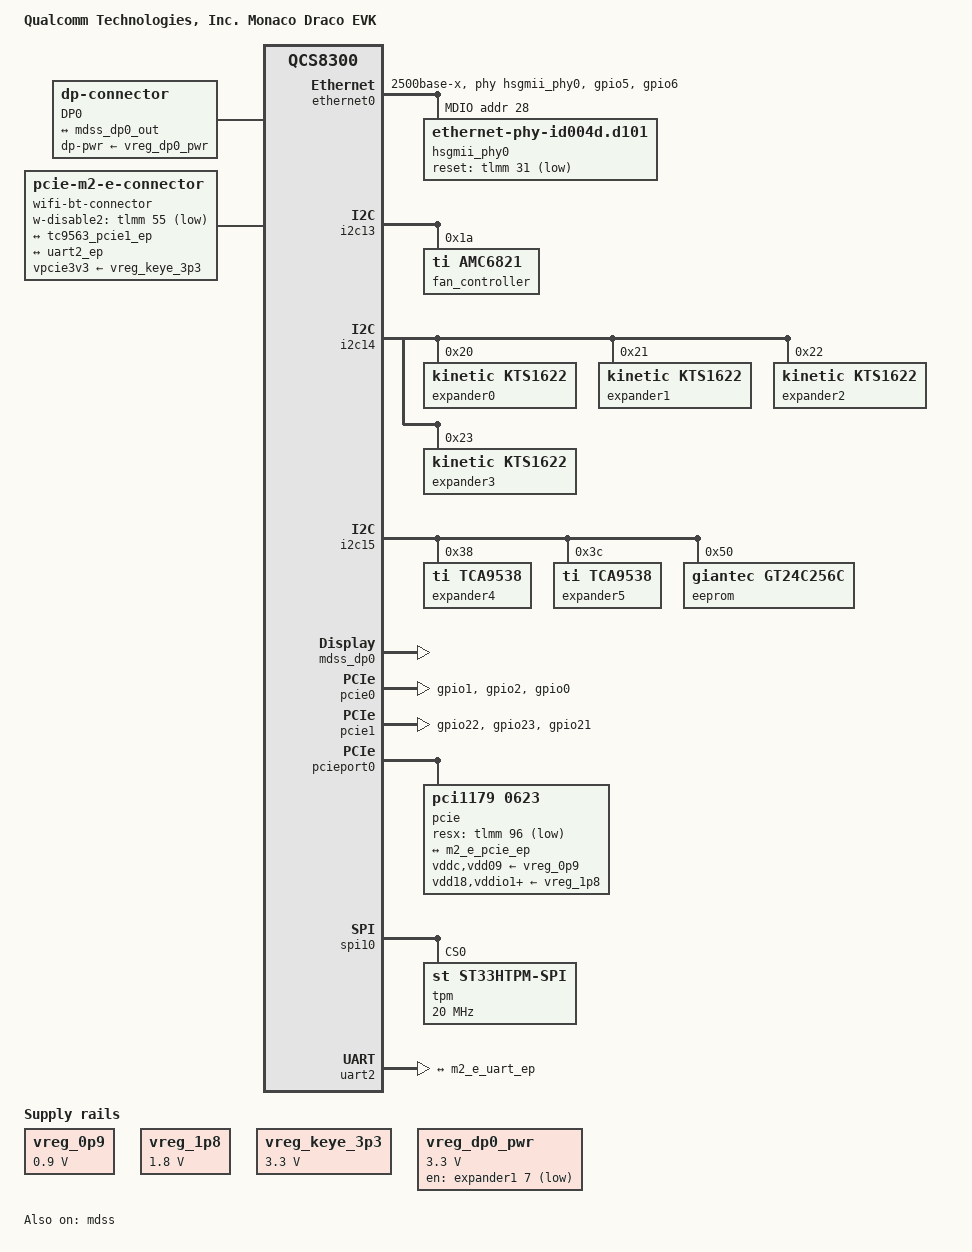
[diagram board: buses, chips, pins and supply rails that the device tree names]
// SPDX-License-Identifier: BSD-3-Clause
/*
 * Copyright (c) Qualcomm Technologies, Inc. and/or its subsidiaries.
 */

/dts-v1/;

#include <dt-bindings/pwm/pwm.h>

#include "monaco-draco-ac-som.dtsi"

/ {
	model = "Qualcomm Technologies, Inc. Monaco Draco EVK";
	compatible = "qcom,monaco-draco-evk", "qcom,monaco-draco-ac-som",
		     "qcom,qcs8300";
	chassis-type = "embedded";

	aliases {
		ethernet0 = &ethernet0;
		serial1 = &uart2;
	};

	vreg_0p9: regulator-0v9 {
		compatible = "regulator-fixed";
		regulator-name = "VREG_0P9";
		regulator-min-microvolt = <900000>;
		regulator-max-microvolt = <900000>;
		regulator-always-on;
		regulator-boot-on;
	};

	vreg_1p8: regulator-1v8 {
		compatible = "regulator-fixed";
		regulator-name = "VREG_1P8";
		regulator-min-microvolt = <1800000>;
		regulator-max-microvolt = <1800000>;
		regulator-always-on;
		regulator-boot-on;
	};

	vreg_keye_3p3: regulator-keye-3p3 {
		compatible = "regulator-fixed";
		regulator-name = "vreg_keye_3p3";
		regulator-min-microvolt = <3300000>;
		regulator-max-microvolt = <3300000>;
		regulator-always-on;
	};

	vreg_dp0_pwr: regulator-dp0-pwr {
		compatible = "regulator-fixed";
		regulator-name = "VREG_DP0_PWR_3P3";
		regulator-min-microvolt = <3300000>;
		regulator-max-microvolt = <3300000>;
		gpio = <&expander1 7 GPIO_ACTIVE_HIGH>;
	};

	dp0-connector {
		compatible = "dp-connector";
		label = "DP0";
		type = "full-size";
		dp-pwr-supply = <&vreg_dp0_pwr>;

		port {
			dp0_connector_in: endpoint {
				remote-endpoint = <&mdss_dp0_out>;
			};
		};
	};

	wifi-bt-connector {
		compatible = "pcie-m2-e-connector";
		vpcie3v3-supply = <&vreg_keye_3p3>;

		w-disable2-gpios = <&tlmm 55 GPIO_ACTIVE_LOW>;

		pinctrl-0 = <&bt_en>;
		pinctrl-names = "default";

		ports {
			#address-cells = <1>;
			#size-cells = <0>;

			port@0 {
				reg = <0>;
				#address-cells = <1>;
				#size-cells = <0>;

				m2_e_pcie_ep: endpoint@0 {
					reg = <0>;
					remote-endpoint = <&tc9563_pcie1_ep>;
				};
			};

			port@3 {
				reg = <3>;
				#address-cells = <1>;
				#size-cells = <0>;

				m2_e_uart_ep: endpoint@0 {
					reg = <0>;
					remote-endpoint = <&uart2_ep>;
				};
			};
		};
	};
};

&ethernet0 {
	phy-handle = <&hsgmii_phy0>;
	phy-mode = "2500base-x";

	pinctrl-0 = <&ethernet0_default>;
	pinctrl-names = "default";

	snps,mtl-rx-config = <&mtl_rx_setup>;
	snps,mtl-tx-config = <&mtl_tx_setup>;

	nvmem-cells = <&mac_addr0>;
	nvmem-cell-names = "mac-address";

	status = "okay";

	mdio {
		compatible = "snps,dwmac-mdio";
		#address-cells = <1>;
		#size-cells = <0>;

		hsgmii_phy0: ethernet-phy@1c {
			compatible = "ethernet-phy-id004d.d101";
			reg = <0x1c>;
			reset-gpios = <&tlmm 31 GPIO_ACTIVE_LOW>;
			reset-assert-us = <11000>;
			reset-deassert-us = <70000>;
		};
	};

	mtl_rx_setup: rx-queues-config {
		snps,rx-queues-to-use = <4>;
		snps,rx-sched-sp;

		queue0 {
			snps,dcb-algorithm;
			snps,map-to-dma-channel = <0x0>;
			snps,route-up;
			snps,priority = <0x1>;
		};

		queue1 {
			snps,dcb-algorithm;
			snps,map-to-dma-channel = <0x1>;
			snps,route-ptp;
		};

		queue2 {
			snps,avb-algorithm;
			snps,map-to-dma-channel = <0x2>;
			snps,route-avcp;
		};

		queue3 {
			snps,avb-algorithm;
			snps,map-to-dma-channel = <0x3>;
			snps,priority = <0xc>;
		};
	};

	mtl_tx_setup: tx-queues-config {
		snps,tx-queues-to-use = <4>;

		queue0 {
			snps,dcb-algorithm;
		};

		queue1 {
			snps,dcb-algorithm;
		};

		queue2 {
			snps,avb-algorithm;
			snps,send_slope = <0x1000>;
			snps,idle_slope = <0x1000>;
			snps,high_credit = <0x3e800>;
			snps,low_credit = <0xffc18000>;
		};

		queue3 {
			snps,avb-algorithm;
			snps,send_slope = <0x1000>;
			snps,idle_slope = <0x1000>;
			snps,high_credit = <0x3e800>;
			snps,low_credit = <0xffc18000>;
		};
	};
};

&i2c13 {
	status = "okay";

	fan_controller: fan@1a {
		compatible = "ti,amc6821";
		reg = <0x1a>;
		#pwm-cells = <2>;

		fan {
			pwms = <&fan_controller 40000 PWM_POLARITY_INVERTED>;
		};
	};
};

&i2c14 {
	status = "okay";

	expander0: gpio@20 {
		compatible = "kinetic,kts1622", "ti,tcal6416";
		reg = <0x20>;
		#gpio-cells = <2>;
		gpio-controller;
	};

	expander1: gpio@21 {
		compatible = "kinetic,kts1622", "ti,tcal6416";
		reg = <0x21>;
		#gpio-cells = <2>;
		gpio-controller;
	};

	expander2: gpio@22 {
		compatible = "kinetic,kts1622", "ti,tcal6416";
		reg = <0x22>;
		#gpio-cells = <2>;
		gpio-controller;
	};

	expander3: gpio@23 {
		compatible = "kinetic,kts1622", "ti,tcal6416";
		reg = <0x23>;
		#gpio-cells = <2>;
		gpio-controller;

		pwr-en0-hog {
			gpio-hog;
			gpios = <0 GPIO_ACTIVE_HIGH>;
			output-high;
			line-name = "pwr_en0";
		};

		pwr-en1-hog {
			gpio-hog;
			gpios = <1 GPIO_ACTIVE_HIGH>;
			output-high;
			line-name = "pwr_en1";
		};

		pwr-en4-hog {
			gpio-hog;
			gpios = <4 GPIO_ACTIVE_HIGH>;
			output-high;
			line-name = "pwr_en4";
		};

		pwr-en6-hog {
			gpio-hog;
			gpios = <6 GPIO_ACTIVE_HIGH>;
			output-high;
			line-name = "pwr_en6";
		};

		pwr-en8-hog {
			gpio-hog;
			gpios = <8 GPIO_ACTIVE_HIGH>;
			output-high;
			line-name = "pwr_en8";
		};

		keye-pwr-en1-hog {
			gpio-hog;
			gpios = <9 GPIO_ACTIVE_HIGH>;
			output-high;
			line-name = "keye_pwr_en1";
		};

		keye-pwr-en2-hog {
			gpio-hog;
			gpios = <10 GPIO_ACTIVE_HIGH>;
			output-high;
			line-name = "keye_pwr_en2";
		};
	};
};

&i2c15 {
	status = "okay";

	expander4: gpio@38 {
		compatible = "ti,tca9538";
		reg = <0x38>;
		#gpio-cells = <2>;
		gpio-controller;
	};

	expander5: gpio@3c {
		compatible = "ti,tca9538";
		reg = <0x3c>;
		#gpio-cells = <2>;
		gpio-controller;
	};

	eeprom@50 {
		compatible = "giantec,gt24c256c", "atmel,24c256";
		reg = <0x50>;
		pagesize = <64>;

		nvmem-layout {
			compatible = "fixed-layout";
			#address-cells = <1>;
			#size-cells = <1>;

			mac_addr0: mac-addr@0 {
				reg = <0x0 0x6>;
			};
		};
	};
};

&mdss {
	status = "okay";
};

&mdss_dp0 {
	pinctrl-0 = <&dp_hot_plug_det>;
	pinctrl-names = "default";

	status = "okay";
};

&mdss_dp0_out {
	data-lanes = <0 1 2 3>;
	link-frequencies = /bits/ 64 <1620000000 2700000000 5400000000 8100000000>;
	remote-endpoint = <&dp0_connector_in>;
};

&pcie0 {
	perst-gpios = <&tlmm 2 GPIO_ACTIVE_LOW>;
	wake-gpios = <&tlmm 0 GPIO_ACTIVE_HIGH>;
	pinctrl-0 = <&pcie0_default_state>;
	pinctrl-names = "default";

	iommu-map = <0x0 &pcie_smmu 0x0 0x0 0x1>,
		    <0x100 &pcie_smmu 0x1 0x0 0x1>,
		    <0x208 &pcie_smmu 0x2 0x0 0x1>,
		    <0x210 &pcie_smmu 0x3 0x0 0x1>,
		    <0x218 &pcie_smmu 0x4 0x0 0x1>,
		    <0x300 &pcie_smmu 0x5 0x0 0x1>,
		    <0x400 &pcie_smmu 0x6 0x0 0x1>,
		    <0x500 &pcie_smmu 0x7 0x0 0x1>,
		    <0x501 &pcie_smmu 0x8 0x0 0x1>;

	status = "okay";
};

&pcie1 {
	perst-gpios = <&tlmm 23 GPIO_ACTIVE_LOW>;
	wake-gpios = <&tlmm 21 GPIO_ACTIVE_HIGH>;
	pinctrl-0 = <&pcie1_default_state>;
	pinctrl-names = "default";

	status = "okay";
};

&pcieport0 {
	#address-cells = <3>;
	#size-cells = <2>;

	pcie@0,0 {
		compatible = "pci1179,0623";
		reg = <0x10000 0x0 0x0 0x0 0x0>;
		#address-cells = <3>;
		#size-cells = <2>;
		device_type = "pci";
		ranges;
		bus-range = <0x2 0xff>;

		vddc-supply = <&vreg_0p9>;
		vdd18-supply = <&vreg_1p8>;
		vdd09-supply = <&vreg_0p9>;
		vddio1-supply = <&vreg_1p8>;
		vddio2-supply = <&vreg_1p8>;
		vddio18-supply = <&vreg_1p8>;
		i2c-parent = <&i2c15 0x77>;
		resx-gpios = <&tlmm 96 GPIO_ACTIVE_LOW>;
		pinctrl-0 = <&tc9563_resx_n>;
		pinctrl-names = "default";

		pcie@1,0 {
			reg = <0x20800 0x0 0x0 0x0 0x0>;
			#address-cells = <3>;
			#size-cells = <2>;
			device_type = "pci";
			ranges;
			bus-range = <0x3 0xff>;

			port {
				tc9563_pcie1_ep: endpoint {
					remote-endpoint = <&m2_e_pcie_ep>;
				};
			};
		};

		pcie@2,0 {
			reg = <0x21000 0x0 0x0 0x0 0x0>;
			#address-cells = <3>;
			#size-cells = <2>;
			device_type = "pci";
			ranges;
			bus-range = <0x4 0xff>;
		};

		pcie@3,0 {
			reg = <0x21800 0x0 0x0 0x0 0x0>;
			#address-cells = <3>;
			#size-cells = <2>;
			device_type = "pci";
			ranges;
			bus-range = <0x5 0xff>;

			pcie@0,0 {
				reg = <0x50000 0x0 0x0 0x0 0x0>;
				#address-cells = <3>;
				#size-cells = <2>;
				device_type = "pci";
				ranges;
			};

			pcie@0,1 {
				reg = <0x50100 0x0 0x0 0x0 0x0>;
				#address-cells = <3>;
				#size-cells = <2>;
				device_type = "pci";
				ranges;
			};
		};
	};
};

&qup_i2c13_data_clk {
	drive-strength = <6>;
	bias-pull-up;
};

&spi10 {
	status = "okay";

	tpm@0 {
		compatible = "st,st33htpm-spi", "tcg,tpm_tis-spi";
		reg = <0>;
		spi-max-frequency = <20000000>;
	};
};

&tlmm {
	bt_en: bt-en-state {
		pins = "gpio55";
		function = "gpio";
		drive-strength = <2>;
		bias-disable;
	};

	ethernet0_default: ethernet0-default-state {
		ethernet0_mdc: ethernet0-mdc-pins {
			pins = "gpio5";
			function = "emac0_mdc";
			drive-strength = <16>;
			bias-pull-up;
		};

		ethernet0_mdio: ethernet0-mdio-pins {
			pins = "gpio6";
			function = "emac0_mdio";
			drive-strength = <16>;
			bias-pull-up;
		};
	};

	pcie0_default_state: pcie0-default-state {
		clkreq-pins {
			pins = "gpio1";
			function = "pcie0_clkreq";
			drive-strength = <2>;
			bias-pull-up;
		};

		perst-pins {
			pins = "gpio2";
			function = "gpio";
			drive-strength = <2>;
			bias-pull-up;
		};

		wake-pins {
			pins = "gpio0";
			function = "gpio";
			drive-strength = <2>;
			bias-pull-up;
		};
	};

	pcie1_default_state: pcie1-default-state {
		clkreq-pins {
			pins = "gpio22";
			function = "pcie1_clkreq";
			drive-strength = <2>;
			bias-pull-up;
		};

		perst-pins {
			pins = "gpio23";
			function = "gpio";
			drive-strength = <2>;
			bias-pull-up;
		};

		wake-pins {
			pins = "gpio21";
			function = "gpio";
			drive-strength = <2>;
			bias-pull-up;
		};
	};

	tc9563_resx_n: tc9563-resx-state {
		pins = "gpio96";
		function = "gpio";
		bias-disable;
		output-high;
	};
};

&uart2 {
	status = "okay";

	port {
		uart2_ep: endpoint {
			remote-endpoint = <&m2_e_uart_ep>;
		};
	};
};
